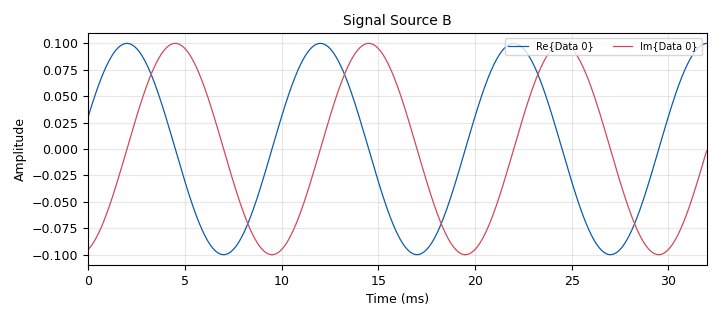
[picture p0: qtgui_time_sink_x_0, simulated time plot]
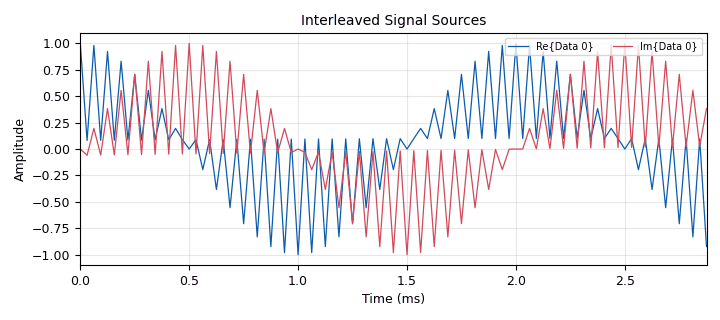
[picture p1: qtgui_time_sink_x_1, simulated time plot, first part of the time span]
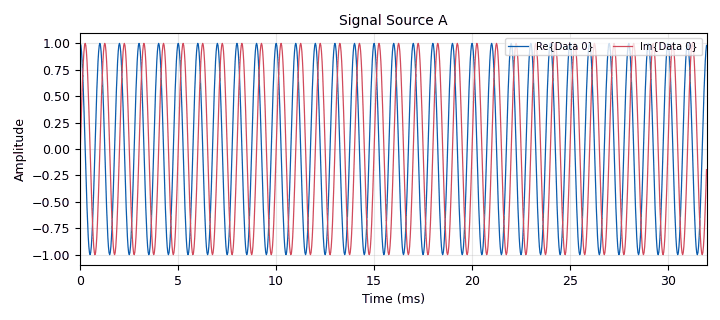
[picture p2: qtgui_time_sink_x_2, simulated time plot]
<?xml version='1.0' encoding='utf-8'?>
<?grc format='1' created='3.7.11'?>
<flow_graph>
<block>
<key>options</key>
<param><key>id</key><value>vectors</value></param>
<param><key>generate_options</key><value>qt_gui</value></param>
<param><key>title</key><value>vectors</value></param>
</block>
<block>
<key>variable</key>
<param><key>id</key><value>samp_rate</value></param>
<param><key>value</key><value>32000</value></param>
</block>
<block>
<key>analog_sig_source_x</key>
<param><key>id</key><value>analog_sig_source_x_0</value></param>
<param><key>amp</key><value>1</value></param>
<param><key>freq</key><value>1000</value></param>
<param><key>offset</key><value>0</value></param>
<param><key>type</key><value>complex</value></param>
<param><key>samp_rate</key><value>samp_rate</value></param>
<param><key>waveform</key><value>analog.GR_COS_WAVE</value></param>
</block>
<block>
<key>analog_sig_source_x</key>
<param><key>id</key><value>analog_sig_source_x_1</value></param>
<param><key>amp</key><value>0.1</value></param>
<param><key>freq</key><value>100</value></param>
<param><key>offset</key><value>0</value></param>
<param><key>type</key><value>complex</value></param>
<param><key>samp_rate</key><value>samp_rate</value></param>
<param><key>waveform</key><value>analog.GR_COS_WAVE</value></param>
</block>
<block>
<key>blocks_streams_to_vector</key>
<param><key>id</key><value>blocks_streams_to_vector_0</value></param>
<param><key>type</key><value>complex</value></param>
</block>
<block>
<key>blocks_vector_to_stream</key>
<param><key>id</key><value>blocks_vector_to_stream_0</value></param>
<param><key>type</key><value>complex</value></param>
</block>
<block>
<key>blocks_vector_to_streams</key>
<param><key>id</key><value>blocks_vector_to_streams_0</value></param>
<param><key>type</key><value>complex</value></param>
</block>
<block>
<key>qtgui_time_sink_x</key>
<param><key>id</key><value>qtgui_time_sink_x_0</value></param>
<param><key>autoscale</key><value>True</value></param>
<param><key>ctrlpanel</key><value>True</value></param>
<param><key>color1</key><value>"blue"</value></param>
<param><key>label1</key><value></value></param>
<param><key>color2</key><value>"red"</value></param>
<param><key>label2</key><value></value></param>
<param><key>name</key><value>"Signal Source B"</value></param>
<param><key>size</key><value>1024</value></param>
<param><key>srate</key><value>samp_rate</value></param>
<param><key>type</key><value>complex</value></param>
</block>
<block>
<key>qtgui_time_sink_x</key>
<param><key>id</key><value>qtgui_time_sink_x_1</value></param>
<param><key>autoscale</key><value>True</value></param>
<param><key>ctrlpanel</key><value>True</value></param>
<param><key>color1</key><value>"blue"</value></param>
<param><key>label1</key><value></value></param>
<param><key>color2</key><value>"red"</value></param>
<param><key>label2</key><value></value></param>
<param><key>name</key><value>"Interleaved Signal Sources"</value></param>
<param><key>size</key><value>1024</value></param>
<param><key>srate</key><value>samp_rate</value></param>
<param><key>type</key><value>complex</value></param>
</block>
<block>
<key>qtgui_time_sink_x</key>
<param><key>id</key><value>qtgui_time_sink_x_2</value></param>
<param><key>autoscale</key><value>True</value></param>
<param><key>ctrlpanel</key><value>True</value></param>
<param><key>color1</key><value>"blue"</value></param>
<param><key>label1</key><value></value></param>
<param><key>color2</key><value>"red"</value></param>
<param><key>label2</key><value></value></param>
<param><key>name</key><value>"Signal Source A"</value></param>
<param><key>size</key><value>1024</value></param>
<param><key>srate</key><value>samp_rate</value></param>
<param><key>type</key><value>complex</value></param>
</block>
<connection><source_block_id>analog_sig_source_x_0</source_block_id><sink_block_id>blocks_streams_to_vector_0</sink_block_id><source_key>0</source_key><sink_key>0</sink_key></connection>
<connection><source_block_id>analog_sig_source_x_1</source_block_id><sink_block_id>blocks_streams_to_vector_0</sink_block_id><source_key>0</source_key><sink_key>1</sink_key></connection>
<connection><source_block_id>blocks_streams_to_vector_0</source_block_id><sink_block_id>blocks_vector_to_stream_0</sink_block_id><source_key>0</source_key><sink_key>0</sink_key></connection>
<connection><source_block_id>blocks_streams_to_vector_0</source_block_id><sink_block_id>blocks_vector_to_streams_0</sink_block_id><source_key>0</source_key><sink_key>0</sink_key></connection>
<connection><source_block_id>blocks_vector_to_stream_0</source_block_id><sink_block_id>qtgui_time_sink_x_1</sink_block_id><source_key>0</source_key><sink_key>0</sink_key></connection>
<connection><source_block_id>blocks_vector_to_streams_0</source_block_id><sink_block_id>qtgui_time_sink_x_2</sink_block_id><source_key>0</source_key><sink_key>0</sink_key></connection>
<connection><source_block_id>blocks_vector_to_streams_0</source_block_id><sink_block_id>qtgui_time_sink_x_0</sink_block_id><source_key>1</source_key><sink_key>0</sink_key></connection>
</flow_graph>
